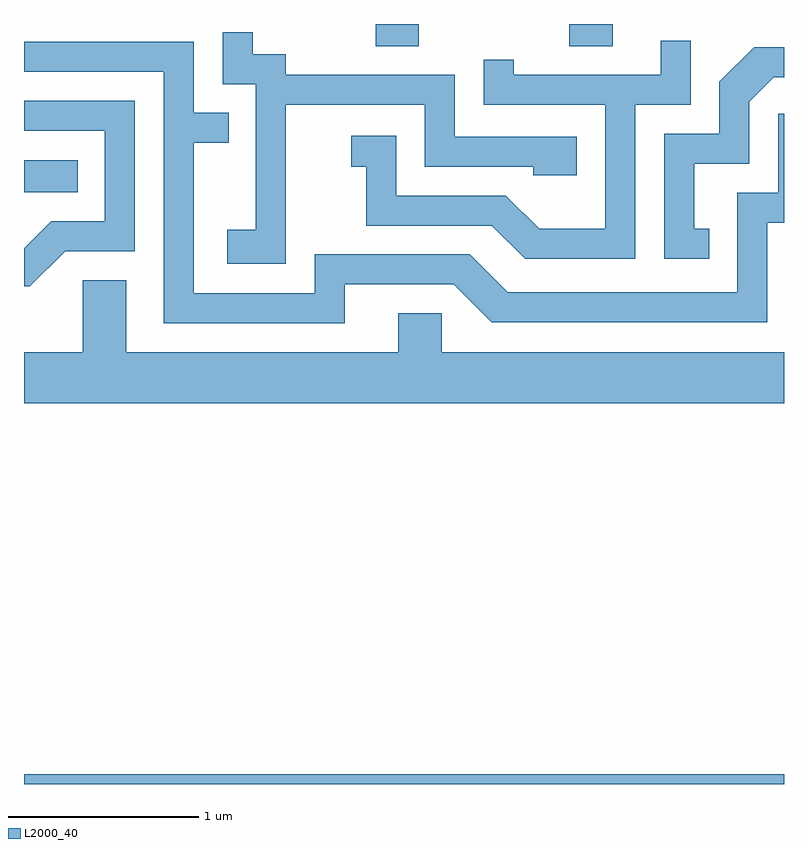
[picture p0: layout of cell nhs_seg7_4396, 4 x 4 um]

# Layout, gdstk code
import gdstk
lib = gdstk.Library(unit=1e-6, precision=1e-09)
def R(c, l, rs):  # rectangles x0, y0, x1, y1
    for r in rs: c.add(gdstk.rectangle(r[:2], r[2:], *l))
def P(c, l, *ps):  # polygons
    for p in ps: c.add(gdstk.Polygon(p, *l))
L2000_40 = (2000, 40)

nhs_seg7_4396 = lib.new_cell('nhs_seg7_4396')
R(nhs_seg7_4396, L2000_40, [(319.611,1772.252,323.611,1772.304), (319.611,1775.366,319.893,1775.534), (321.461,1776.136,321.689,1776.252), (322.481,1776.136,322.709,1776.252)])
P(nhs_seg7_4396, L2000_40, [(320.989,1775.826),(321.721,1775.826),(321.721,1775.501),(322.291,1775.501),(322.291,1775.456),(322.519,1775.456),(322.519,1775.659),(321.879,1775.659),(321.879,1775.984),(320.989,1775.984),(320.989,1776.094),(320.814,1776.094),(320.814,1776.208),(320.656,1776.208),(320.656,1775.936),(320.831,1775.936),(320.831,1775.169),(320.681,1775.169),(320.681,1774.991),(320.989,1774.991)],
  [(322.829,1775.826),(323.119,1775.826),(323.119,1776.163),(322.961,1776.163),(322.961,1775.984),(322.189,1775.984),(322.189,1776.063),(322.031,1776.063),(322.031,1775.826),(322.671,1775.826),(322.671,1775.174),(322.322,1775.174),(322.147,1775.349),(321.569,1775.349),(321.569,1775.664),(321.333,1775.664),(321.333,1775.501),(321.411,1775.501),(321.411,1775.191),(322.074,1775.191),(322.249,1775.016),(322.829,1775.016)],
  [(321.299,1774.881),(321.874,1774.881),(322.074,1774.681),(323.524,1774.681),(323.524,1775.206),(323.611,1775.206),(323.611,1775.779),(323.581,1775.779),(323.581,1775.364),(323.366,1775.364),(323.366,1774.839),(322.157,1774.839),(321.957,1775.039),(321.141,1775.039),(321.141,1774.834),(320.504,1774.834),(320.504,1775.626),(320.688,1775.626),(320.688,1775.784),(320.504,1775.784),(320.504,1776.159),(319.611,1776.159),(319.611,1776.001),(320.346,1776.001),(320.346,1774.676),(321.299,1774.676)],
  [(323.218,1775.174),(323.139,1775.174),(323.139,1775.516),(323.429,1775.516),(323.429,1775.844),(323.557,1775.971),(323.611,1775.971),(323.611,1776.129),(323.454,1776.129),(323.271,1775.947),(323.271,1775.674),(322.981,1775.674),(322.981,1775.016),(323.218,1775.016)],
  [(319.827,1775.056),(320.194,1775.056),(320.194,1775.849),(319.611,1775.849),(319.611,1775.691),(320.036,1775.691),(320.036,1775.214),(319.754,1775.214),(319.611,1775.071),(319.611,1774.871),(319.642,1774.871)],
  [(323.611,1774.524),(321.809,1774.524),(321.809,1774.729),(321.581,1774.729),(321.581,1774.524),(320.149,1774.524),(320.149,1774.904),(319.921,1774.904),(319.921,1774.524),(319.611,1774.524),(319.611,1774.256),(323.611,1774.256)])

lib.write_gds('nhs_seg7_4396.gds')
